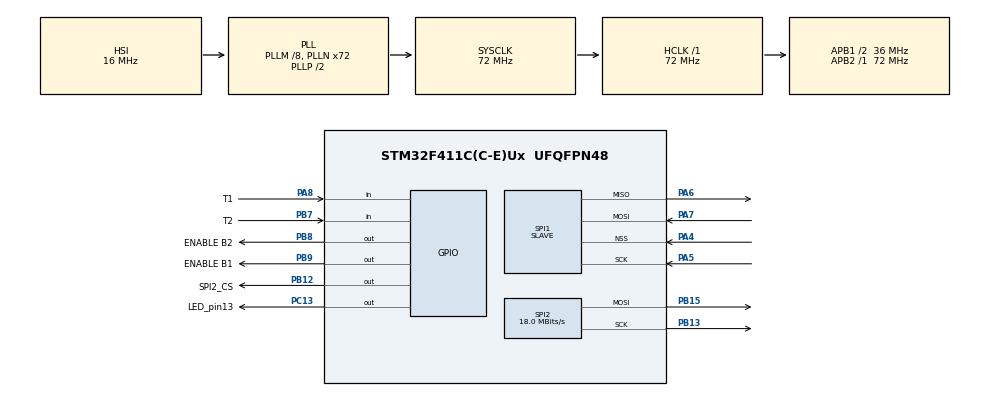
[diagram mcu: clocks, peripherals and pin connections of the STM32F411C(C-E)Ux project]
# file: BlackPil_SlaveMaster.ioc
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Mcu.Family=STM32F4
Mcu.Name=STM32F411C(C-E)Ux
Mcu.Package=UFQFPN48
NVIC.PriorityGroup=NVIC_PRIORITYGROUP_4
PA4.Mode=NSS_Signal_Hard_Input
PA4.Signal=SPI1_NSS
PA5.Mode=Full_Duplex_Slave
PA5.Signal=SPI1_SCK
PA6.Mode=Full_Duplex_Slave
PA6.Signal=SPI1_MISO
PA7.Mode=Full_Duplex_Slave
PA7.Signal=SPI1_MOSI
PA8.GPIO_Label=T1
PA8.GPIO_PuPd=GPIO_PULLDOWN
PA8.Signal=GPIO_Input
PB12.GPIO_Label=SPI2_CS
PB12.GPIO_PuPd=GPIO_PULLDOWN
PB12.Signal=GPIO_Output
PB13.Mode=TX_Only_Simplex_Unidirect_Master
PB13.Signal=SPI2_SCK
PB15.Mode=TX_Only_Simplex_Unidirect_Master
PB15.Signal=SPI2_MOSI
PB7.GPIO_Label=T2
PB7.GPIO_PuPd=GPIO_PULLDOWN
PB7.Signal=GPIO_Input
PB8.GPIO_Label=ENABLE B2
PB8.GPIO_PuPd=GPIO_PULLUP
PB8.PinState=GPIO_PIN_SET
PB8.Signal=GPIO_Output
PB9.GPIO_Label=ENABLE B1
PB9.GPIO_PuPd=GPIO_PULLUP
PB9.PinState=GPIO_PIN_SET
PB9.Signal=GPIO_Output
PC13-ANTI_TAMP.GPIO_Label=LED_pin13
PC13-ANTI_TAMP.Signal=GPIO_Output
ProjectManager.HeapSize=0x200
ProjectManager.StackSize=0x400
ProjectManager.TargetToolchain=STM32CubeIDE
RCC.48MHZClocksFreq_Value=36000000
RCC.AHBFreq_Value=72000000
RCC.APB1CLKDivider=RCC_HCLK_DIV2
RCC.APB1Freq_Value=36000000
RCC.APB1TimFreq_Value=72000000
RCC.APB2Freq_Value=72000000
RCC.APB2TimFreq_Value=72000000
RCC.CortexFreq_Value=72000000
RCC.HCLKFreq_Value=72000000
RCC.HSE_VALUE=25000000
RCC.HSI_VALUE=16000000
RCC.LSE_VALUE=32768
RCC.PLLM=8
RCC.PLLN=72
RCC.SYSCLKFreq_VALUE=72000000
RCC.SYSCLKSource=RCC_SYSCLKSOURCE_PLLCLK
RCC.VCOOutputFreq_Value=144000000
SPI1.Direction=SPI_DIRECTION_2LINES
SPI1.Mode=SPI_MODE_SLAVE
SPI1.VirtualNSS=VM_NSSHARD
SPI1.VirtualType=VM_SLAVE
SPI2.CalculateBaudRate=18.0 MBits/s
SPI2.Direction=SPI_DIRECTION_2LINES
SPI2.Mode=SPI_MODE_MASTER
SPI2.VirtualType=VM_MASTER
board=custom

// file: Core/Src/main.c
/* USER CODE BEGIN Header */
/**
  ******************************************************************************
  * @file           : main.c
  * @brief          : Different patterns for signal multiplexing
  ******************************************************************************
  * @attention
  *
  * Copyright (c) 2023 STMicroelectronics.
  * @contact mail:  nicoledupuy95@gmail.com
  * ***************************************************************************
  * The following program allows control ADG1206 multiplexers.
  * These have their logic control pins connected to the output
  * of the SN74LV595A Shift Registers in cascade.
  * This set up is found on the development PCB:
  * 		"Multiplexer for BIMMS"
  * 			"Nicole Dupuy"
  * 			   "05/2023"
  * Only half of the board was considered.
  * 6 multiplexers connected to 3 shift registers on the right side or BIMMS1
  *
  ******************************************************************************
  */
/* USER CODE END Header */
#include "main.h"
#include "spi.h"
#include "gpio.h"

/* USER CODE BEGIN PV */

uint8_t dato_tx[1] ; //variable to be transmitted to the shift registers
uint8_t dato_rx[1]; //data to receive of a single value from the Master
uint8_t repetitions = 3; //number of times the cycle is done

HAL_StatusTypeDef stado;//to know if the data is received correctly

/*-------------------------------------------------------------*/
/***************Different types of configurations***************/
/***************************************************************/

uint8_t block1_6[3]={// Array of 3 bytes for transmit 24 bits
		0x01, // First byte 	0000 0001 || Stm-_E1 |	Stm+_E2
		0x23, // Second byte 	0010 0011 || CH2-_E3 |	CH2+_E4
		0x45, // Third byte 	0100 0101 || CH1-_E5 |	CH1+_E6
};

uint8_t block6_1[3]={// Array of 3 bytes for transmit 24 bits
		0x54, // First byte 	0101 0100 || Stm+_E6 |	Stm-_E5
		0x32, // Second byte 	0011 0010 || CH2-_E4 |	CH2+_E3
		0x10, // Third byte 	0001 0000 || CH1-_E2 |	CH1+_E1
};
uint8_t allOdd[8] ={
		0x02, //0000 0000 0000 0000 0000 0010 || X1_E1 |	X2_E3
		0x24, //0000 0000 0000 0000 0010 0100 || X1_E3 |	X2_E5
		0x46, //0000 0000 0000 0000 0100 0110 || X1_E5 |	X2_E7
		0x68, //0000 0000 0000 0000 0110 1000 || X1_E7 |	X2_E9
		0x8A, //0000 0000 0000 0000 1000 1010 || X1_E9 |	X2_E11
		0xAC, //0000 0000 0000 0000 1010 1100 || X1_E11|	X2_E13
		0xCE, //0000 0000 0000 0000 1100 1110 || X1_E13|	X2_E15
		0xE0  //0000 0000 0000 0000 1110 0000 || X1_E15|	X2_E1
};
uint8_t odd_ch1[8][3] ={
	{0x00,0x00,0x02},//(0000 0000) (0000 0000) (0000 0010) || CH1-_E1 |	CH1+_E3
	{0x00,0x00,0x24},//(0000 0000) (0000 0000) (0010 0100) || CH1-_E3 |	CH1+_E5
	{0x00,0x00,0x46},//(0000 0000) (0000 0000) (0100 0110) || CH1-_E5 |	CH1+_E7
	{0x00,0x00,0x68},//(0000 0000) (0000 0000) (0110 1000) || CH1-_E7 |	CH1+_E9
	{0x00,0x00,0x8A},//(0000 0000) (0000 0000) (1000 1010) || CH1-_E9 |	CH1+_E11
	{0x00,0x00,0xAC},//(0000 0000) (0000 0000) (1010 1100) || CH1-_E11|	CH1+_E13
	{0x00,0x00,0xCE},//(0000 0000) (0000 0000) (1100 1110) || CH1-_E13|	CH1+_E15
	{0x00,0x00,0xE0} //(0000 0000) (0000 0000) (1110 0000) || CH1-_E15|	CH1+_E1
};
uint8_t stim_even[8][3] ={
	{0x13,0x00,0x00},//(0001 0011) (0000 0000) (0000 0000) || Stim+_E2 |	Stim-_E4
	{0x35,0x00,0x00},//(0011 0101) (0000 0000) (0000 0000) || Stim+_E4 |	Stim-_E6
	{0x57,0x00,0x00},//(0101 0111) (0000 0000) (0000 0000) || Stim+_E6 |	Stim-_E8
	{0x79,0x00,0x00},//(0111 1001) (0000 0000) (0000 0000) || Stim+_E8 |	Stim-_E10
	{0x9B,0x00,0x00},//(1001 1011) (0000 0000) (0000 0000) || Stim+_E10|	Stim-_E12
	{0xBD,0x00,0x00},//(1011 1101) (0000 0000) (0000 0000) || Stim+_E12|	Stim-_E14
	{0xDF,0x00,0x00},//(1101 1111) (0000 0000) (0000 0000) || Stim+_E14|	Stim-_E16
	{0xF1,0x00,0x00} //(0000 0000) (0000 0000) (0000 0000) || Stim+_E16|	Stim-_E2
};
uint16_t from1to16ch1[16] = { //1 from first to last
		0b00000000, //1
		0b00010001, //2
		0b00100010, //3
		0b00110011, //4
		0b01000100, //5
		0b01010101, //6
		0b01100110, //7
		0b01110111, //8
		0b10001000, //9
		0b10011001, //10
		0b10101010, //11
		0b10111011, //12
		0b11001100, //13
		0b11011101, //14
		0b11101110, //15
		0b11111111, //16
};
uint16_t from16to1ch1 [16] = { // 1 from last to first
		0b11111111, //16
		0b11101110, //15
		0b11011101, //14
		0b11001100, //13
		0b10111011, //12
		0b10101010, //11
		0b10011001, //10
		0b10001000, //9
		0b01110111, //8
		0b01100110, //7
		0b01010101, //6
		0b01000100, //5
		0b00110011, //4
		0b00100010, //3
		0b00010001, //2
		0b00000000, //1
};
/* USER CODE END PV */

void SystemClock_Config(void);

/* USER CODE BEGIN 0 */
/*-------------------------------------------------------------*/
/******************Functions for the Patterns*******************/
/***************************************************************/
void Blocked1_6(){
	/*This function blocks the channels on the electrodes from 1 to 6 in order.*/
	/*Stim- Stim+ CH2- CH2+ CH1- CH1+*/
		 HAL_GPIO_WritePin(SPI2_CS_GPIO_Port, SPI2_CS_Pin, 0); //selector of slave, active on LOW state
		 HAL_SPI_Transmit(&hspi2, (uint8_t*)(block1_6),3, HAL_MAX_DELAY); //(SPI used , buffer, size of data, time of transmission)
		 HAL_GPIO_WritePin(SPI2_CS_GPIO_Port, SPI2_CS_Pin, 1); // disable the slave with a HIGH state
}
void Blocked6_1(){
	/*This function blocks the channels on the electrodes from 6 to 1 in order.*/
	/*CH1+ CH1- CH2+ CH2- Stim+ Stim-*/
		 HAL_GPIO_WritePin(SPI2_CS_GPIO_Port, SPI2_CS_Pin, 0); //selector of slave, active on LOW state
		 HAL_SPI_Transmit(&hspi2, (uint8_t*)(block6_1),3, HAL_MAX_DELAY); //(SPI used , buffer, size of data, time of transmission)
		 HAL_GPIO_WritePin(SPI2_CS_GPIO_Port, SPI2_CS_Pin, 1); // disable the slave with a HIGH state
}
void Odd_All_Chs(){
	/*This function allows injecting two signals into any channels
	 *  by opening the electrodes in pairs:
	 *  1-3 || 3-5 || 5-7 || 7-9 || 9-11 || 11-13 || 13-15 || 15-1*/
	for (int i=0;i<=7;i++){
		HAL_GPIO_WritePin(SPI2_CS_GPIO_Port, SPI2_CS_Pin, 0);//selector of slave, active on LOW state
		dato_tx[0] = allOdd[i];
		HAL_SPI_Transmit(&hspi2, (uint8_t*)(dato_tx),1, HAL_MAX_DELAY); //(SPI used , buffer, size of data, time of transmission)
		HAL_Delay(200); //delay for being abble to see the signals. comment if you dont need it
		HAL_GPIO_WritePin(SPI2_CS_GPIO_Port, SPI2_CS_Pin, 1); // disable the slave with a HIGH state
	}}
void Odd_CH1(){
	/*This function allows injecting two signals into CH1+ AND CH1-
		 *  by opening the electrodes in pairs:
		 *  1-3 || 3-5 || 5-7 || 7-9 || 9-11 || 11-13 || 13-15 || 15-1 .*/
	 for (int i=0;i<=8;i++){
		 	 for (int j=0;j<=3;j++){
		 		 	 dato_tx[j] = odd_ch1[i][j];
		 HAL_GPIO_WritePin(SPI2_CS_GPIO_Port, SPI2_CS_Pin, 0); //selector of slave, active on LOW state
		 HAL_SPI_Transmit(&hspi2, (uint8_t*)(dato_tx),3, HAL_MAX_DELAY); //(SPI used , buffer, size of data, time of transmission)
		 HAL_Delay(200);
		 HAL_GPIO_WritePin(SPI2_CS_GPIO_Port, SPI2_CS_Pin, 1); // disable the slave with a HIGH state
	}		}}
void Even_Stim(){
	/*This function allows injecting two signals into Stim+ AND Stim-
		 *  by opening the electrodes in pairs:
		 *  2-4 || 4-6 || 6-8 || 8-10 || 10-12 || 12-14 || 14-16 || 16-2 .*/
	 for (int i=0;i<=8;i++){
		 	 for (int j=0;j<=3;j++){
		 		 	 dato_tx[j] = stim_even[i][j];
		HAL_GPIO_WritePin(SPI2_CS_GPIO_Port, SPI2_CS_Pin, 0);//selector of slave, active on LOW state
		HAL_SPI_Transmit(&hspi2, (uint8_t*)(dato_tx),3, HAL_MAX_DELAY); //(SPI used , buffer, size o data, time of transmission)
		HAL_Delay(200);
		HAL_GPIO_WritePin(SPI2_CS_GPIO_Port, SPI2_CS_Pin, 1); // disable the slave with a HIGH state
	}	}}
void  Rising(){
	/*This function enables the electrodes in order, from 1 to 16,
	with any channel.*/
	for (int i=0;i<=15;i++){ //Display from 1 to 16
		HAL_GPIO_WritePin(SPI2_CS_GPIO_Port, SPI2_CS_Pin, 0); //selector of slave, active on LOW state
		dato_tx[0] = from1to16ch1[i];
		HAL_SPI_Transmit(&hspi2, (uint8_t*)(dato_tx),1, HAL_MAX_DELAY); //(SPI used , buffer, size o data, time of transmission)
		HAL_Delay(200);
		HAL_GPIO_WritePin(SPI2_CS_GPIO_Port, SPI2_CS_Pin, 1); // disable the slave with a HIGH state
	}	}
void Falling(){
	/*This function enables the electrodes in order, from 16 to 1,
	with any channel.*/
	for (int i=0;i<=15;i++){ //Display from 0 to 16
		HAL_GPIO_WritePin(SPI2_CS_GPIO_Port, SPI2_CS_Pin, 0);//selector of slave, active on LOW state
		dato_tx[0] = from16to1ch1[i];
		HAL_SPI_Transmit(&hspi2, (uint8_t*)(dato_tx),1, HAL_MAX_DELAY); //(SPI used , buffer, size o data, time of transmission)
		HAL_Delay(200);
		HAL_GPIO_WritePin(SPI2_CS_GPIO_Port, SPI2_CS_Pin, 1); // disable the slave with a HIGH state
	}	}

/* USER CODE END 0 */

/** MAIN FUNCTION*********************************************************************************************************************
  */
int main(void)
{

  /* MCU Configuration--------------------------------------------------------*/

  /* Reset of all peripherals, Initializes the Flash interface and the Systick. */
  HAL_Init();

  /* Configure the system clock */
  SystemClock_Config();

  /* Initialize all configured peripherals */
  MX_GPIO_Init();
  MX_SPI1_Init();
  MX_SPI2_Init();
  /* USER CODE BEGIN 2 */
  	  	  HAL_GPIO_WritePin(GPIOC, LED_pin13_Pin,GPIO_PIN_SET); //LED Incorporated
  	  	  HAL_GPIO_WritePin(GPIOC, ENABLE_B1_Pin,GPIO_PIN_RESET);//set ENABLE B1
  	  	  HAL_GPIO_WritePin(GPIOC, ENABLE_B2_Pin,GPIO_PIN_RESET);//set ENABLE B2
  /* USER CODE END 2 */

  /* Infinite loop */
  /* USER CODE BEGIN WHILE */
  while (1)
  {
	  HAL_GPIO_WritePin(GPIOC, ENABLE_B1_Pin,GPIO_PIN_SET);//ENABLE B1 ON
	  HAL_GPIO_WritePin(GPIOC, ENABLE_B2_Pin,GPIO_PIN_SET);//ENABLE B2 ON

	stado = HAL_SPI_Receive(&hspi1,dato_rx, 1, HAL_MAX_DELAY);//Control variable
		if(stado == HAL_OK){//if the data is well received
			 HAL_GPIO_WritePin(GPIOC, LED_pin13_Pin,GPIO_PIN_RESET);//LED BLUE BLACKPILL ON
			switch (dato_rx[0]){ // Analysis of the command received from the master.
			   case 0x01:
				   for (int i = 0; i < repetitions ; i++) {
					   Blocked1_6(); }
					/*This function blocks the channels on the electrodes from 1 to 6 in order.*/
					/*Stim- Stim+ CH2- CH2+ CH1- CH1+*/
				   break;
			   case 0x02:
				   for (int i = 0; i < repetitions ; i++) {
					   Blocked6_1(); }
					/*This function blocks the channels on the electrodes from 6 to 1 in order.*/
					/*CH1+ CH1- CH2+ CH2- Stim+ Stim-*/
					break;
			   case 0x03:
				   for (int i = 0; i < repetitions ; i++) {
					   Odd_All_Chs() ; }
					/*This function allows injecting two signals into any channels
					 *  by opening the electrodes in pairs:
					 *  1-3 || 3-5 || 5-7 || 7-9 || 9-11 || 11-13 || 13-15 || 15-1*/
					break;
			   case 0x04:
				   for (int i = 0; i < repetitions ; i++) {
					   Odd_CH1(); }
					/*This function allows injecting two signals into CH1+ AND CH1-
						 *  by opening the electrodes in pairs:
						 *  1-3 || 3-5 || 5-7 || 7-9 || 9-11 || 11-13 || 13-15 || 15-1 .*/
					break;
			   case 0x05:
				   for (int i = 0; i < repetitions ; i++) {
					   Even_Stim(); }
					/*This function allows injecting two signals into Stim+ AND Stim-
						 *  by opening the electrodes in pairs:
						 *  2-4 || 4-6 || 6-8 || 8-10 || 10-12 || 12-14 || 14-16 || 16-2 .*/
					break;
			   case 0x06:
				   for (int i = 0; i < repetitions ; i++) {
				  Rising(); }
					/*This function enables the electrodes in order, from 1 to 16,
					with any channel.*/
					break;
			   case 0x07:
				   for (int i = 0; i < repetitions ; i++) {
			      Falling(); }
					/*This function enables the electrodes in order, from 16 to 1,
					with any channel.*/
					break;

			   default : //default block
				  break;
			}
		}

    /* USER CODE END WHILE */

    /* USER CODE BEGIN 3 */
		HAL_GPIO_WritePin(GPIOC, LED_pin13_Pin,GPIO_PIN_SET);//LED BLUE BLACKPILL OFF
  }
  /* USER CODE END 3 */
}

void SystemClock_Config(void)
{
  RCC_OscInitTypeDef RCC_OscInitStruct = {0};
  RCC_ClkInitTypeDef RCC_ClkInitStruct = {0};

  /** Configure the main internal regulator output voltage
  */
  __HAL_RCC_PWR_CLK_ENABLE();
  __HAL_PWR_VOLTAGESCALING_CONFIG(PWR_REGULATOR_VOLTAGE_SCALE1);

  /** Initializes the RCC Oscillators according to the specified parameters
  * in the RCC_OscInitTypeDef structure.
  */
  RCC_OscInitStruct.OscillatorType = RCC_OSCILLATORTYPE_HSI;
  RCC_OscInitStruct.HSIState = RCC_HSI_ON;
  RCC_OscInitStruct.HSICalibrationValue = RCC_HSICALIBRATION_DEFAULT;
  RCC_OscInitStruct.PLL.PLLState = RCC_PLL_ON;
  RCC_OscInitStruct.PLL.PLLSource = RCC_PLLSOURCE_HSI;
  RCC_OscInitStruct.PLL.PLLM = 8;
  RCC_OscInitStruct.PLL.PLLN = 72;
  RCC_OscInitStruct.PLL.PLLP = RCC_PLLP_DIV2;
  RCC_OscInitStruct.PLL.PLLQ = 4;
  if (HAL_RCC_OscConfig(&RCC_OscInitStruct) != HAL_OK)
  {
    Error_Handler();
  }

  /** Initializes the CPU, AHB and APB buses clocks
  */
  RCC_ClkInitStruct.ClockType = RCC_CLOCKTYPE_HCLK|RCC_CLOCKTYPE_SYSCLK
                              |RCC_CLOCKTYPE_PCLK1|RCC_CLOCKTYPE_PCLK2;
  RCC_ClkInitStruct.SYSCLKSource = RCC_SYSCLKSOURCE_PLLCLK;
  RCC_ClkInitStruct.AHBCLKDivider = RCC_SYSCLK_DIV1;
  RCC_ClkInitStruct.APB1CLKDivider = RCC_HCLK_DIV2;
  RCC_ClkInitStruct.APB2CLKDivider = RCC_HCLK_DIV1;

  if (HAL_RCC_ClockConfig(&RCC_ClkInitStruct, FLASH_LATENCY_2) != HAL_OK)
  {
    Error_Handler();
  }
}

void Error_Handler(void)
{
  __disable_irq();
  while (1)
  {
  }
}
